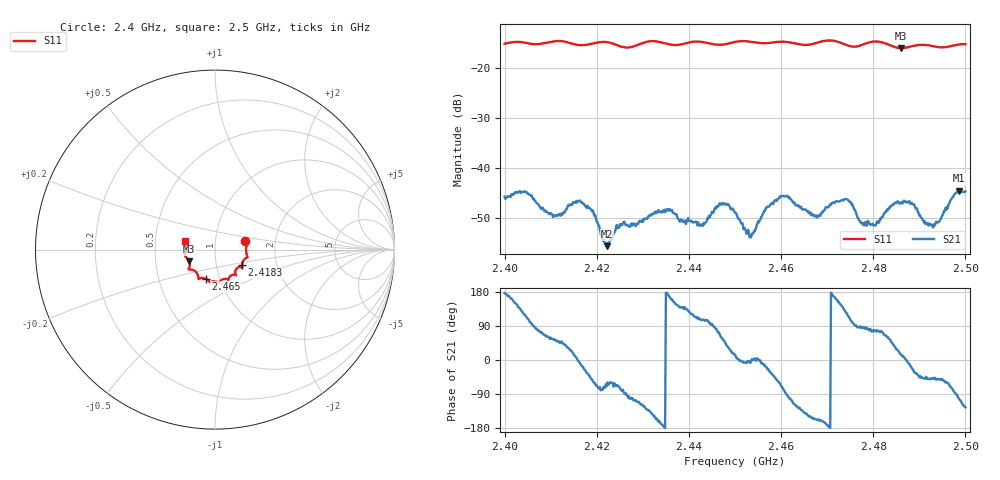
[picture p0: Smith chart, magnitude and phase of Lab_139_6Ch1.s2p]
# Hz S RI R 50
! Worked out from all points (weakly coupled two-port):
!   601 points, 2.4 GHz to 2.5 GHz, reference 50 ohm
!   highest |S21| = -44.45 dB at 2.4987 GHz (marker M1); lowest = -55.6 dB at 2.4222 GHz (marker M2)
!   lowest |S11| = -16.0 dB at 2.486 GHz (marker M3), VSWR 1.38, Z = 37.1 - j4.98 ohm
!   |S11| at or under -10 dB: start of sweep to end of sweep
!   S12 and S22 are empty: the file has one direction only
!   S11 on the Smith chart (normalised r, x): 2.4 GHz: 1.40, +0.13; 2.4183 GHz: 1.33, -0.24; 2.465 GHz: 0.86, -0.29; 2.5 GHz: 0.71, +0.07
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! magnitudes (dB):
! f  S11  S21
! 2.4 GHz  -15.1  -45.7
! 2.4047 GHz  -15.0  -44.8
! 2.411 GHz  -14.6  -49.6
! 2.4167 GHz  -15.4  -46.9
! 2.4183 GHz  -15.2  -48.0
! 2.4222 GHz  -14.8  -55.6
! 2.4255 GHz  -15.8  -51.3
! 2.4333 GHz  -14.7  -48.4
! 2.4427 GHz  -14.8  -51.2
! 2.447 GHz  -15.3  -47.3
! 2.45 GHz  -14.8  -48.8
! 2.4535 GHz  -14.7  -53.8
! 2.46 GHz  -14.7  -45.7
! 2.465 GHz  -15.4  -48.2
! 2.4667 GHz  -15.2  -49.1
! 2.4742 GHz  -15.4  -46.2
! 2.48 GHz  -14.7  -51.3
! 2.4833 GHz  -15.3  -48.0
! 2.486 GHz  -16.0  -46.8
! 2.493 GHz  -15.6  -51.8
! 2.4987 GHz  -15.3  -44.4
! 2.5 GHz  -15.2  -44.6
